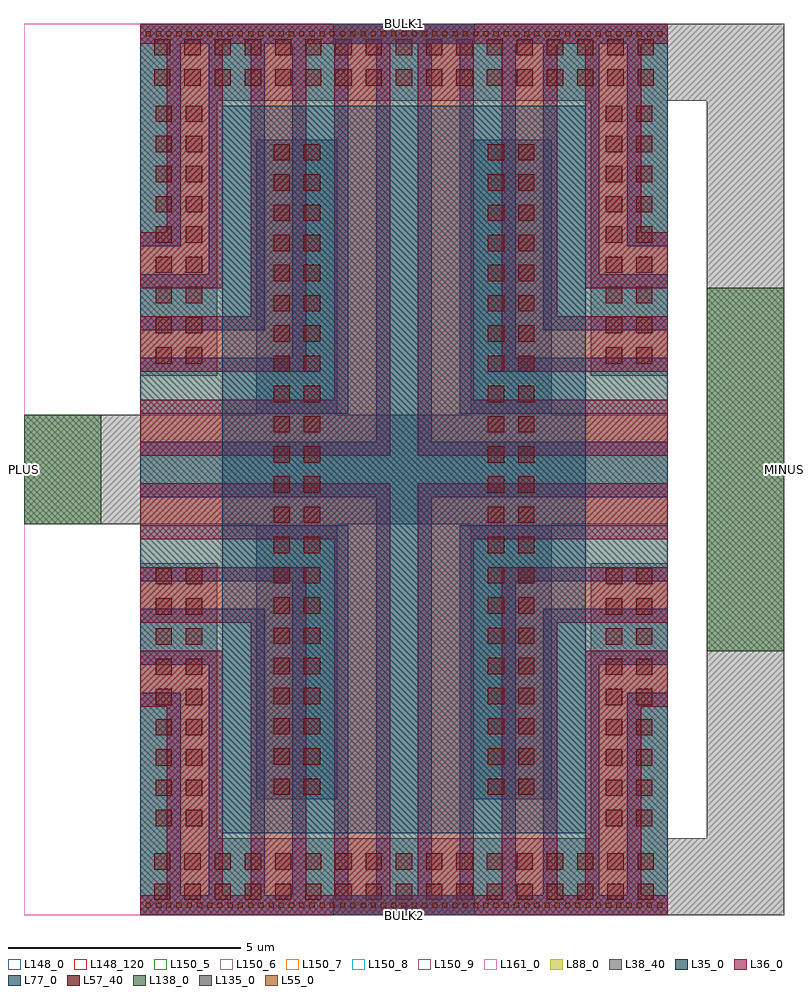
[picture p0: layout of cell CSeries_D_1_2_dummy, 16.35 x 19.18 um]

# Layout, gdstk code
import gdstk
lib = gdstk.Library(unit=1e-6, precision=1e-09)
def R(c, l, rs):  # rectangles x0, y0, x1, y1
    for r in rs: c.add(gdstk.rectangle(r[:2], r[2:], *l))
def A(c, l, x, y, w, h, nx, ny, dx, dy):  # array of equal rectangles
    R(c, l, [(x+i*dx, y+j*dy, x+i*dx+w, y+j*dy+h) for i in range(nx) for j in range(ny)])
def P(c, l, *ps):  # polygons
    for p in ps: c.add(gdstk.Polygon(p, *l))
L35_0 = (35, 0)
L36_0 = (36, 0)
L38_40 = (38, 40)
L55_0 = (55, 0)
L57_40 = (57, 40)
L77_0 = (77, 0)
L88_0 = (88, 0)
L135_0 = (135, 0)
L138_0 = (138, 0)
L148_0 = (148, 0)
L148_120 = (148, 120)
L150_5 = (150, 5)
L150_6 = (150, 6)
L150_7 = (150, 7)
L150_8 = (150, 8)
L150_9 = (150, 9)
L161_0 = (161, 0)

cseries_d_1_2_dummy = lib.new_cell('CSeries_D_1_2_dummy')
R(cseries_d_1_2_dummy, L35_0, [(-1.76,-1.76,-0.885,2.43), (-1.76,-1.76,9.59,-1.33), (-0.285,-1.76,0.915,4.23), (1.515,-1.76,2.715,6.03), (3.315,-1.76,4.515,17.42), (5.115,-1.76,6.315,6.03), (6.915,-1.76,8.115,4.23), (8.715,-1.76,9.59,2.43), (-1.76,1.83,-0.885,3.03), (8.715,1.83,9.59,3.03), (-1.76,3.63,0.915,4.83), (6.915,3.63,9.59,4.83), (-1.76,5.43,2.715,6.63), (5.115,5.43,9.59,6.63), (-1.76,7.23,9.59,8.43), (-1.76,9.03,2.715,10.23), (5.115,9.03,9.59,10.23), (1.515,9.63,2.715,17.42), (5.115,9.63,6.315,17.42), (-1.76,10.83,0.915,12.03), (6.915,10.83,9.59,12.03), (-0.285,11.43,0.915,17.42), (6.915,11.43,8.115,17.42), (-1.76,12.63,-0.885,13.83), (8.715,12.63,9.59,13.83), (-1.76,13.23,-0.885,17.42), (8.715,13.23,9.59,17.42), (-1.76,16.99,9.59,17.42)])
R(cseries_d_1_2_dummy, L36_0, [(-1.76,-1.76,9.59,-1.33), (-1.185,-1.76,0.015,3.33), (0.615,-1.76,1.815,5.13), (2.415,-1.76,3.615,6.93), (4.215,-1.76,5.415,6.93), (6.015,-1.76,7.215,5.13), (7.815,-1.76,9.015,3.33), (-1.76,2.73,0.015,3.93), (7.815,2.73,9.59,3.93), (-1.76,4.53,1.815,5.73), (6.015,4.53,9.59,5.73), (-1.76,6.33,3.615,7.53), (4.215,6.33,9.59,7.53), (-1.76,8.13,3.615,9.33), (4.215,8.13,9.59,9.33), (2.415,8.73,3.615,17.42), (4.215,8.73,5.415,17.42), (-1.76,9.93,1.815,11.13), (6.015,9.93,9.59,11.13), (0.615,10.53,1.815,17.42), (6.015,10.53,7.215,17.42), (-1.76,11.73,0.015,12.93), (7.815,11.73,9.59,12.93), (-1.185,12.33,0.015,17.42), (7.815,12.33,9.015,17.42), (-1.76,16.99,9.59,17.42)])
R(cseries_d_1_2_dummy, L38_40, [(9.59,-1.76,12.09,-0.1), (10.43,-1.76,12.09,17.42), (0.74,0.74,2.48,6.65), (5.35,0.74,7.09,6.65), (-4.26,6.65,9.59,9.01), (0.74,9.01,2.48,14.92), (0.74,9.01,2.48,14.92), (5.35,9.01,7.09,14.92), (5.35,9.01,7.09,14.92), (9.59,15.76,12.09,17.42)])
P(cseries_d_1_2_dummy, L38_40, [(-0.1,15.76),(7.93,15.76),(7.93,9.85),(9.59,9.85),(9.59,17.42),(-1.76,17.42),(-1.76,9.85),(-0.1,9.85)],
  [(-1.76,5.81),(-1.76,-1.76),(9.59,-1.76),(9.59,5.81),(7.93,5.81),(7.93,-0.1),(-0.1,-0.1),(-0.1,5.81)])
A(cseries_d_1_2_dummy, L55_0, -1.64, -1.6, 0.11, 0.11, 51, 2, 0.22, 18.75)
A(cseries_d_1_2_dummy, L57_40, -1.46, -1.43, 0.35, 0.35, 17, 2, 0.65, 0.65)
A(cseries_d_1_2_dummy, L57_40, -1.43, 0.16, 0.35, 0.35, 1, 9, 0, 0.65)
A(cseries_d_1_2_dummy, L57_40, -0.78, 0.16, 0.35, 0.35, 1, 9, 0, 0.65)
A(cseries_d_1_2_dummy, L57_40, 8.26, 0.16, 0.35, 0.35, 1, 9, 0, 0.65)
A(cseries_d_1_2_dummy, L57_40, 8.91, 0.16, 0.35, 0.35, 1, 9, 0, 0.65)
A(cseries_d_1_2_dummy, L57_40, 1.11, 0.83, 0.35, 0.35, 1, 22, 0, 0.65)
A(cseries_d_1_2_dummy, L57_40, 1.76, 0.83, 0.35, 0.35, 1, 22, 0, 0.65)
A(cseries_d_1_2_dummy, L57_40, 5.72, 0.83, 0.35, 0.35, 1, 22, 0, 0.65)
A(cseries_d_1_2_dummy, L57_40, 6.37, 0.83, 0.35, 0.35, 1, 22, 0, 0.65)
A(cseries_d_1_2_dummy, L57_40, -1.43, 10.11, 0.35, 0.35, 1, 9, 0, 0.65)
A(cseries_d_1_2_dummy, L57_40, -0.78, 10.11, 0.35, 0.35, 1, 9, 0, 0.65)
A(cseries_d_1_2_dummy, L57_40, 8.26, 10.11, 0.35, 0.35, 1, 9, 0, 0.65)
A(cseries_d_1_2_dummy, L57_40, 8.91, 10.11, 0.35, 0.35, 1, 9, 0, 0.65)
A(cseries_d_1_2_dummy, L57_40, -1.46, 16.09, 0.35, 0.35, 17, 2, 0.65, 0.65)
R(cseries_d_1_2_dummy, L77_0, [(0,0,7.83,15.66)])
R(cseries_d_1_2_dummy, L88_0, [(-1.76,-1.76,9.59,17.42)])
R(cseries_d_1_2_dummy, L135_0, [(2.395,-1.76,5.435,-1.33), (2.395,16.99,5.435,17.42)])
R(cseries_d_1_2_dummy, L138_0, [(10.43,3.915,12.09,11.745), (-4.26,6.65,-2.6,9.01)])
R(cseries_d_1_2_dummy, L148_0, [(-4.26,-1.76,12.09,17.42)])
R(cseries_d_1_2_dummy, L148_120, [(-4.26,-1.76,12.09,17.42)])
R(cseries_d_1_2_dummy, L150_5, [(-4.26,-1.76,12.09,17.42)])
R(cseries_d_1_2_dummy, L150_6, [(-4.26,-1.76,12.09,17.42)])
R(cseries_d_1_2_dummy, L150_7, [(-4.26,-1.76,12.09,17.42)])
R(cseries_d_1_2_dummy, L150_8, [(-4.26,-1.76,12.09,17.42)])
R(cseries_d_1_2_dummy, L150_9, [(-4.26,-1.76,12.09,17.42)])
R(cseries_d_1_2_dummy, L161_0, [(-4.26,-1.76,12.09,17.42)])
cseries_d_1_2_dummy.add(gdstk.Label('BULK1', (3.915,17.42), layer=135, texttype=0))
cseries_d_1_2_dummy.add(gdstk.Label('BULK2', (3.915,-1.76), layer=135, texttype=0))
cseries_d_1_2_dummy.add(gdstk.Label('PLUS', (-4.26,7.83), layer=138, texttype=0))
cseries_d_1_2_dummy.add(gdstk.Label('MINUS', (12.09,7.83), layer=138, texttype=0))

lib.write_gds('CSeries_D_1_2_dummy.gds')
